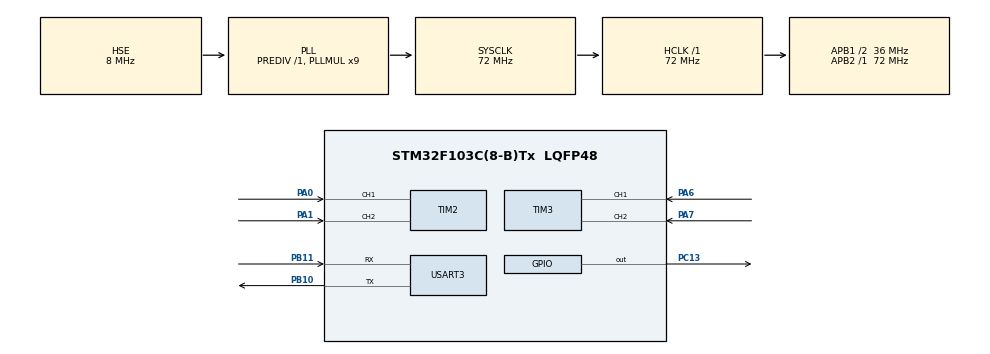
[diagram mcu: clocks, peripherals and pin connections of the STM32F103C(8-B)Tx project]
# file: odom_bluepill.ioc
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Dma.Request0=USART3_RX
Dma.Request1=USART3_TX
Dma.USART3_RX.0.Direction=DMA_PERIPH_TO_MEMORY
Dma.USART3_RX.0.Instance=DMA1_Channel3
Dma.USART3_RX.0.MemDataAlignment=DMA_MDATAALIGN_BYTE
Dma.USART3_RX.0.MemInc=DMA_MINC_ENABLE
Dma.USART3_RX.0.Mode=DMA_NORMAL
Dma.USART3_RX.0.PeriphDataAlignment=DMA_PDATAALIGN_BYTE
Dma.USART3_RX.0.PeriphInc=DMA_PINC_DISABLE
Dma.USART3_RX.0.Priority=DMA_PRIORITY_LOW
Dma.USART3_TX.1.Direction=DMA_MEMORY_TO_PERIPH
Dma.USART3_TX.1.Instance=DMA1_Channel2
Dma.USART3_TX.1.MemDataAlignment=DMA_MDATAALIGN_BYTE
Dma.USART3_TX.1.MemInc=DMA_MINC_ENABLE
Dma.USART3_TX.1.Mode=DMA_NORMAL
Dma.USART3_TX.1.PeriphDataAlignment=DMA_PDATAALIGN_BYTE
Dma.USART3_TX.1.PeriphInc=DMA_PINC_DISABLE
Dma.USART3_TX.1.Priority=DMA_PRIORITY_LOW
Mcu.Family=STM32F1
Mcu.Name=STM32F103C(8-B)Tx
Mcu.Package=LQFP48
NVIC.DMA1_Channel2_IRQn=true\:0\:0\:false\:false\:true\:false\:true\:true
NVIC.DMA1_Channel3_IRQn=true\:0\:0\:false\:false\:true\:false\:true\:true
NVIC.PriorityGroup=NVIC_PRIORITYGROUP_4
NVIC.TIM4_IRQn=true\:0\:0\:false\:false\:true\:true\:true\:true
NVIC.USART3_IRQn=true\:0\:0\:false\:false\:true\:true\:true\:true
PA0-WKUP.GPIO_PuPd=GPIO_PULLUP
PA0-WKUP.Signal=S_TIM2_CH1_ETR
PA1.GPIO_PuPd=GPIO_PULLUP
PA1.Signal=S_TIM2_CH2
PA13.Mode=Serial_Wire
PA13.Signal=SYS_JTMS-SWDIO
PA14.Mode=Serial_Wire
PA14.Signal=SYS_JTCK-SWCLK
PA6.GPIO_PuPd=GPIO_PULLUP
PA6.Signal=S_TIM3_CH1
PA7.GPIO_PuPd=GPIO_PULLUP
PA7.Signal=S_TIM3_CH2
PB10.Mode=Asynchronous
PB10.Signal=USART3_TX
PB11.Mode=Asynchronous
PB11.Signal=USART3_RX
PC13-TAMPER-RTC.Signal=GPIO_Output
PD0-OSC_IN.Mode=HSE-External-Oscillator
PD0-OSC_IN.Signal=RCC_OSC_IN
PD1-OSC_OUT.Mode=HSE-External-Oscillator
PD1-OSC_OUT.Signal=RCC_OSC_OUT
ProjectManager.HeapSize=0x200
ProjectManager.StackSize=0x400
ProjectManager.TargetToolchain=STM32CubeIDE
RCC.AHBFreq_Value=72000000
RCC.APB1CLKDivider=RCC_HCLK_DIV2
RCC.APB1Freq_Value=36000000
RCC.APB1TimFreq_Value=72000000
RCC.APB2Freq_Value=72000000
RCC.APB2TimFreq_Value=72000000
RCC.HCLKFreq_Value=72000000
RCC.PLLMUL=RCC_PLL_MUL9
RCC.PLLSourceVirtual=RCC_PLLSOURCE_HSE
RCC.SYSCLKFreq_VALUE=72000000
RCC.SYSCLKSource=RCC_SYSCLKSOURCE_PLLCLK
RCC.USBFreq_Value=72000000
SH.S_TIM2_CH1_ETR.0=TIM2_CH1,Encoder_Interface
SH.S_TIM2_CH2.0=TIM2_CH2,Encoder_Interface
SH.S_TIM3_CH1.0=TIM3_CH1,Encoder_Interface
SH.S_TIM3_CH2.0=TIM3_CH2,Encoder_Interface
TIM4.Period=1000-1
TIM4.Prescaler=72-1
USART3.VirtualMode=VM_ASYNC
VP_TIM4_VS_ClockSourceINT.Mode=Internal
board=custom

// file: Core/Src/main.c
/* USER CODE BEGIN Header */
/**
  ******************************************************************************
  * @file           : main.c
  * @brief          : Main program body
  ******************************************************************************
  * @attention
  *
  * Copyright (c) 2025 STMicroelectronics.
  * All rights reserved.
  *
  * This software is licensed under terms that can be found in the LICENSE file
  * in the root directory of this software component.
  * If no LICENSE file comes with this software, it is provided AS-IS.
  *
  ******************************************************************************
  */
/* USER CODE END Header */
#include "main.h"

/* USER CODE BEGIN Includes */
#include "stdio.h"
#include "stdlib.h"
#include "string.h"
#include "math.h"
/* USER CODE END Includes */

TIM_HandleTypeDef htim2;
TIM_HandleTypeDef htim3;
TIM_HandleTypeDef htim4;

UART_HandleTypeDef huart3;
DMA_HandleTypeDef hdma_usart3_rx;
DMA_HandleTypeDef hdma_usart3_tx;

void SystemClock_Config(void);
static void MX_GPIO_Init(void);
static void MX_DMA_Init(void);
static void MX_USART3_UART_Init(void);
static void MX_TIM2_Init(void);
static void MX_TIM3_Init(void);
static void MX_TIM4_Init(void);

/* USER CODE BEGIN 0 */
int16_t encX = 0;
int16_t encY = 0;
char tx_buffer[7] = "ABC";

void HAL_TIM_PeriodElapsedCallback(TIM_HandleTypeDef *htim)
{
	static uint8_t  led_state = 0;
	static uint16_t led_cnt   = 0;
	static uint16_t odom_cnt  = 0;

	if(htim == &htim4)
	{
		if(odom_cnt >= 9)
		{

			encX = TIM2->CNT;
			encY = TIM3->CNT;

			TIM2->CNT = TIM3->CNT = 0;

			odom_cnt = 0;

		}
		else
		{
			odom_cnt++;
		}

		if(led_cnt >= 249)
		{
			led_state = !(led_state);
			HAL_GPIO_WritePin(GPIOC, GPIO_PIN_13, led_state);
			led_cnt = 0;
		}
		else
		{
			led_cnt++;
		}

		memcpy(tx_buffer + 3, &encX, 2);
		memcpy(tx_buffer + 5, &encY, 2);
		HAL_UART_Transmit_DMA(&huart3, (uint8_t*)tx_buffer, sizeof(tx_buffer));

	}
}

/* USER CODE END 0 */

int main(void)
{

  /* MCU Configuration--------------------------------------------------------*/

  /* Reset of all peripherals, Initializes the Flash interface and the Systick. */
  HAL_Init();

  /* Configure the system clock */
  SystemClock_Config();

  /* Initialize all configured peripherals */
  MX_GPIO_Init();
  MX_DMA_Init();
  MX_USART3_UART_Init();
  MX_TIM2_Init();
  MX_TIM3_Init();
  MX_TIM4_Init();
  /* USER CODE BEGIN 2 */
  HAL_TIM_Encoder_Start(&htim2, TIM_CHANNEL_ALL);
  HAL_TIM_Encoder_Start(&htim3, TIM_CHANNEL_ALL);

  HAL_TIM_Base_Start_IT(&htim4);
  /* USER CODE END 2 */

  /* Infinite loop */
  while (1)
  {

  }
}

void SystemClock_Config(void)
{
  RCC_OscInitTypeDef RCC_OscInitStruct = {0};
  RCC_ClkInitTypeDef RCC_ClkInitStruct = {0};

  /** Initializes the RCC Oscillators according to the specified parameters
  * in the RCC_OscInitTypeDef structure.
  */
  RCC_OscInitStruct.OscillatorType = RCC_OSCILLATORTYPE_HSE;
  RCC_OscInitStruct.HSEState = RCC_HSE_ON;
  RCC_OscInitStruct.HSEPredivValue = RCC_HSE_PREDIV_DIV1;
  RCC_OscInitStruct.HSIState = RCC_HSI_ON;
  RCC_OscInitStruct.PLL.PLLState = RCC_PLL_ON;
  RCC_OscInitStruct.PLL.PLLSource = RCC_PLLSOURCE_HSE;
  RCC_OscInitStruct.PLL.PLLMUL = RCC_PLL_MUL9;
  if (HAL_RCC_OscConfig(&RCC_OscInitStruct) != HAL_OK)
  {
    Error_Handler();
  }

  /** Initializes the CPU, AHB and APB buses clocks
  */
  RCC_ClkInitStruct.ClockType = RCC_CLOCKTYPE_HCLK|RCC_CLOCKTYPE_SYSCLK
                              |RCC_CLOCKTYPE_PCLK1|RCC_CLOCKTYPE_PCLK2;
  RCC_ClkInitStruct.SYSCLKSource = RCC_SYSCLKSOURCE_PLLCLK;
  RCC_ClkInitStruct.AHBCLKDivider = RCC_SYSCLK_DIV1;
  RCC_ClkInitStruct.APB1CLKDivider = RCC_HCLK_DIV2;
  RCC_ClkInitStruct.APB2CLKDivider = RCC_HCLK_DIV1;

  if (HAL_RCC_ClockConfig(&RCC_ClkInitStruct, FLASH_LATENCY_2) != HAL_OK)
  {
    Error_Handler();
  }
}

static void MX_TIM2_Init(void)
{

  TIM_Encoder_InitTypeDef sConfig = {0};
  TIM_MasterConfigTypeDef sMasterConfig = {0};

  htim2.Instance = TIM2;
  htim2.Init.Prescaler = 0;
  htim2.Init.CounterMode = TIM_COUNTERMODE_UP;
  htim2.Init.Period = 65535;
  htim2.Init.ClockDivision = TIM_CLOCKDIVISION_DIV1;
  htim2.Init.AutoReloadPreload = TIM_AUTORELOAD_PRELOAD_DISABLE;
  sConfig.EncoderMode = TIM_ENCODERMODE_TI1;
  sConfig.IC1Polarity = TIM_ICPOLARITY_RISING;
  sConfig.IC1Selection = TIM_ICSELECTION_DIRECTTI;
  sConfig.IC1Prescaler = TIM_ICPSC_DIV1;
  sConfig.IC1Filter = 0;
  sConfig.IC2Polarity = TIM_ICPOLARITY_RISING;
  sConfig.IC2Selection = TIM_ICSELECTION_DIRECTTI;
  sConfig.IC2Prescaler = TIM_ICPSC_DIV1;
  sConfig.IC2Filter = 0;
  if (HAL_TIM_Encoder_Init(&htim2, &sConfig) != HAL_OK)
  {
    Error_Handler();
  }
  sMasterConfig.MasterOutputTrigger = TIM_TRGO_RESET;
  sMasterConfig.MasterSlaveMode = TIM_MASTERSLAVEMODE_DISABLE;
  if (HAL_TIMEx_MasterConfigSynchronization(&htim2, &sMasterConfig) != HAL_OK)
  {
    Error_Handler();
  }

}

static void MX_TIM3_Init(void)
{

  TIM_Encoder_InitTypeDef sConfig = {0};
  TIM_MasterConfigTypeDef sMasterConfig = {0};

  htim3.Instance = TIM3;
  htim3.Init.Prescaler = 0;
  htim3.Init.CounterMode = TIM_COUNTERMODE_UP;
  htim3.Init.Period = 65535;
  htim3.Init.ClockDivision = TIM_CLOCKDIVISION_DIV1;
  htim3.Init.AutoReloadPreload = TIM_AUTORELOAD_PRELOAD_DISABLE;
  sConfig.EncoderMode = TIM_ENCODERMODE_TI1;
  sConfig.IC1Polarity = TIM_ICPOLARITY_RISING;
  sConfig.IC1Selection = TIM_ICSELECTION_DIRECTTI;
  sConfig.IC1Prescaler = TIM_ICPSC_DIV1;
  sConfig.IC1Filter = 0;
  sConfig.IC2Polarity = TIM_ICPOLARITY_RISING;
  sConfig.IC2Selection = TIM_ICSELECTION_DIRECTTI;
  sConfig.IC2Prescaler = TIM_ICPSC_DIV1;
  sConfig.IC2Filter = 0;
  if (HAL_TIM_Encoder_Init(&htim3, &sConfig) != HAL_OK)
  {
    Error_Handler();
  }
  sMasterConfig.MasterOutputTrigger = TIM_TRGO_RESET;
  sMasterConfig.MasterSlaveMode = TIM_MASTERSLAVEMODE_DISABLE;
  if (HAL_TIMEx_MasterConfigSynchronization(&htim3, &sMasterConfig) != HAL_OK)
  {
    Error_Handler();
  }

}

static void MX_TIM4_Init(void)
{

  TIM_ClockConfigTypeDef sClockSourceConfig = {0};
  TIM_MasterConfigTypeDef sMasterConfig = {0};

  htim4.Instance = TIM4;
  htim4.Init.Prescaler = 72-1;
  htim4.Init.CounterMode = TIM_COUNTERMODE_UP;
  htim4.Init.Period = 1000-1;
  htim4.Init.ClockDivision = TIM_CLOCKDIVISION_DIV1;
  htim4.Init.AutoReloadPreload = TIM_AUTORELOAD_PRELOAD_DISABLE;
  if (HAL_TIM_Base_Init(&htim4) != HAL_OK)
  {
    Error_Handler();
  }
  sClockSourceConfig.ClockSource = TIM_CLOCKSOURCE_INTERNAL;
  if (HAL_TIM_ConfigClockSource(&htim4, &sClockSourceConfig) != HAL_OK)
  {
    Error_Handler();
  }
  sMasterConfig.MasterOutputTrigger = TIM_TRGO_RESET;
  sMasterConfig.MasterSlaveMode = TIM_MASTERSLAVEMODE_DISABLE;
  if (HAL_TIMEx_MasterConfigSynchronization(&htim4, &sMasterConfig) != HAL_OK)
  {
    Error_Handler();
  }

}

static void MX_USART3_UART_Init(void)
{

  huart3.Instance = USART3;
  huart3.Init.BaudRate = 115200;
  huart3.Init.WordLength = UART_WORDLENGTH_8B;
  huart3.Init.StopBits = UART_STOPBITS_1;
  huart3.Init.Parity = UART_PARITY_NONE;
  huart3.Init.Mode = UART_MODE_TX_RX;
  huart3.Init.HwFlowCtl = UART_HWCONTROL_NONE;
  huart3.Init.OverSampling = UART_OVERSAMPLING_16;
  if (HAL_UART_Init(&huart3) != HAL_OK)
  {
    Error_Handler();
  }

}

static void MX_DMA_Init(void)
{

  /* DMA controller clock enable */
  __HAL_RCC_DMA1_CLK_ENABLE();

  /* DMA interrupt init */
  /* DMA1_Channel2_IRQn interrupt configuration */
  HAL_NVIC_SetPriority(DMA1_Channel2_IRQn, 0, 0);
  HAL_NVIC_EnableIRQ(DMA1_Channel2_IRQn);
  /* DMA1_Channel3_IRQn interrupt configuration */
  HAL_NVIC_SetPriority(DMA1_Channel3_IRQn, 0, 0);
  HAL_NVIC_EnableIRQ(DMA1_Channel3_IRQn);

}

static void MX_GPIO_Init(void)
{
  GPIO_InitTypeDef GPIO_InitStruct = {0};

  /* GPIO Ports Clock Enable */
  __HAL_RCC_GPIOC_CLK_ENABLE();
  __HAL_RCC_GPIOD_CLK_ENABLE();
  __HAL_RCC_GPIOA_CLK_ENABLE();
  __HAL_RCC_GPIOB_CLK_ENABLE();

  /*Configure GPIO pin Output Level */
  HAL_GPIO_WritePin(GPIOC, GPIO_PIN_13, GPIO_PIN_RESET);

  /*Configure GPIO pin : PC13 */
  GPIO_InitStruct.Pin = GPIO_PIN_13;
  GPIO_InitStruct.Mode = GPIO_MODE_OUTPUT_PP;
  GPIO_InitStruct.Pull = GPIO_NOPULL;
  GPIO_InitStruct.Speed = GPIO_SPEED_FREQ_LOW;
  HAL_GPIO_Init(GPIOC, &GPIO_InitStruct);

}

void Error_Handler(void)
{
  __disable_irq();
  while (1)
  {
  }
}
